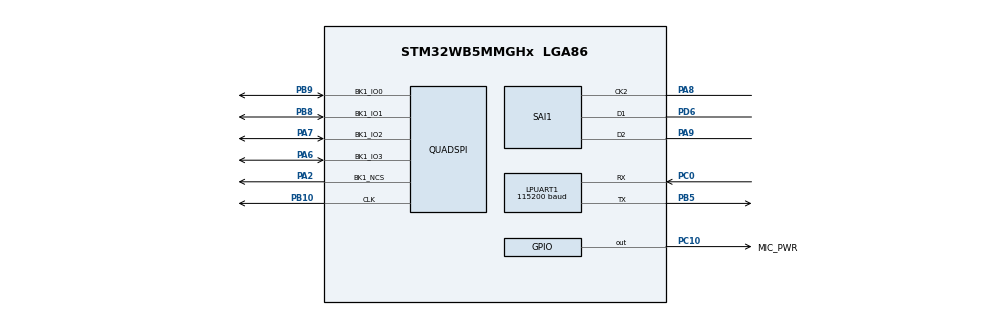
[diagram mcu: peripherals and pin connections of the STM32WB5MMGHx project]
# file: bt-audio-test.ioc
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Dma.Request0=SAI1_A
Dma.SAI1_A.0.Direction=DMA_PERIPH_TO_MEMORY
Dma.SAI1_A.0.EventEnable=DISABLE
Dma.SAI1_A.0.Instance=DMA1_Channel1
Dma.SAI1_A.0.MemDataAlignment=DMA_MDATAALIGN_HALFWORD
Dma.SAI1_A.0.MemInc=DMA_MINC_ENABLE
Dma.SAI1_A.0.Mode=DMA_CIRCULAR
Dma.SAI1_A.0.PeriphDataAlignment=DMA_PDATAALIGN_HALFWORD
Dma.SAI1_A.0.PeriphInc=DMA_PINC_DISABLE
Dma.SAI1_A.0.Polarity=HAL_DMAMUX_REQ_GEN_RISING
Dma.SAI1_A.0.Priority=DMA_PRIORITY_HIGH
Dma.SAI1_A.0.RequestNumber=1
Dma.SAI1_A.0.SignalID=NONE
Dma.SAI1_A.0.SyncEnable=DISABLE
Dma.SAI1_A.0.SyncPolarity=HAL_DMAMUX_SYNC_NO_EVENT
Dma.SAI1_A.0.SyncRequestNumber=1
Dma.SAI1_A.0.SyncSignalID=NONE
FREERTOS.Tasks01=defaultTask,24,1024,StartDefaultTask,Default,NULL,Dynamic,NULL,NULL
FREERTOS.configENABLE_FPU=0
FREERTOS.configMINIMAL_STACK_SIZE=1024
FREERTOS.configTOTAL_HEAP_SIZE=60000
FREERTOS.configUSE_NEWLIB_REENTRANT=1
LPUART1.BaudRate=115200
Mcu.Family=STM32WB
Mcu.Name=STM32WB5MMGHx
Mcu.Package=LGA86
NVIC.DMA1_Channel1_IRQn=true\:5\:0\:false\:false\:true\:true\:false\:true\:true
NVIC.PriorityGroup=NVIC_PRIORITYGROUP_4
NVIC.TIM1_TRG_COM_TIM17_IRQn=true\:15\:0\:false\:false\:true\:false\:false\:true\:true
NVIC.TimeBase=TIM1_TRG_COM_TIM17_IRQn
NVIC.TimeBaseIP=TIM17
PA2.Mode=Single Bank 1
PA2.Signal=QUADSPI_BK1_NCS
PA6.Mode=Single Bank 1
PA6.Signal=QUADSPI_BK1_IO3
PA7.Mode=Single Bank 1
PA7.Signal=QUADSPI_BK1_IO2
PA8.Mode=PDM_Master_Mode_CK2
PA8.Signal=SAI1_CK2
PA9.Mode=3_4_MicroPhones
PA9.Signal=SAI1_D2
PB10.Mode=Single Bank 1
PB10.Signal=QUADSPI_CLK
PB5.Mode=Asynchronous
PB5.Signal=LPUART1_TX
PB8.Mode=Single Bank 1
PB8.Signal=QUADSPI_BK1_IO1
PB9.Mode=Single Bank 1
PB9.Signal=QUADSPI_BK1_IO0
PC0.Mode=Asynchronous
PC0.Signal=LPUART1_RX
PC10.GPIO_Label=MIC_PWR
PC10.GPIO_ModeDefaultOutputPP=GPIO_MODE_OUTPUT_PP
PC10.GPIO_PuPd=GPIO_NOPULL
PC10.PinState=GPIO_PIN_SET
PC10.Signal=GPIO_Output
PD6.Mode=PDM_Master_Mode_CK2
PD6.Signal=SAI1_D1
ProjectManager.HeapSize=0x200
ProjectManager.StackSize=0x400
ProjectManager.TargetToolchain=STM32CubeIDE
RCC.ADCFreq_Value=48000000
RCC.AHB2CLKDivider=RCC_SYSCLK_DIV2
RCC.AHBFreq_Value=48000000
RCC.APB1Freq_Value=48000000
RCC.APB1TimFreq_Value=48000000
RCC.APB2Freq_Value=48000000
RCC.APB2TimFreq_Value=48000000
RCC.APB3Freq_Value=16000000
RCC.CortexFreq_Value=48000000
RCC.HCLKFreq_Value=48000000
RCC.HSE_VALUE=32000000
RCC.HSI48_VALUE=48000000
RCC.HSI_VALUE=16000000
RCC.MSIClockRange=RCC_MSIRANGE_11
RCC.PLLM=RCC_PLLM_DIV3
RCC.PLLP=RCC_PLLP_DIV4
RCC.PLLSAI1N=6
RCC.SAI1CLockSelection=RCC_SAI1CLKSOURCE_HSI
RCC.SYSCLKFreq_VALUE=48000000
RCC.USBFreq_Value=48000000
RCC.VCOOutputFreq_Value=128000000
SAI1.Activation=ENABLE
SAI1.AudioFrequency-PDM_Master_Mode_CK2=SAI_AUDIO_FREQUENCY_16K
SAI1.ClockStrobing-PDM_Master_Mode_CK2=SAI_CLOCKSTROBING_FALLINGEDGE
SAI1.DataSize-PDM_Master_Mode_CK2=SAI_DATASIZE_16
SAI1.ErrorAudioFreq-PDM_Master_Mode_CK2=-2.34 %
SAI1.FSDefinition-PDM_Master_Mode_CK2=SAI_FS_CHANNEL_IDENTIFICATION
SAI1.FrameLength-PDM_Master_Mode_CK2=64
SAI1.Instance-PDM_Master_Mode_CK2=SAI$Index_Block_A
SAI1.MClockEnable-PDM_Master_Mode_CK2=SAI_MASTERCLOCK_DISABLE
SAI1.MonoStereoMode-PDM_Master_Mode_CK2=SAI_STEREOMODE
SAI1.RealAudioFreq-PDM_Master_Mode_CK2=15.625 KHz
SAI1.SlotActive-PDM_Master_Mode_CK2=0x0000FFFF
SAI1.SlotNumber-PDM_Master_Mode_CK2=4
SAI1.Synchro_A=SAI_ASYNCHRONOUS
SAI1.VirtualMode-PDM_Master_Mode_CK2=VM_MASTER
SAI1.VirtualProtocol-PDM_Master_Mode_CK2=VM_PDM_PROTOCOL
SAI1.VirtualSlotActive-PDM_Master_Mode_CK2=SAI_SLOTACTIVE_ALL
VP_FREERTOS_VS_CMSIS_V2.Mode=CMSIS_V2
VP_MEMORYMAP_VS_MEMORYMAP.Mode=CurAppReg
VP_SYS_VS_tim17.Mode=TIM17
board=custom

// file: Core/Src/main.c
/* USER CODE BEGIN Header */
/**
  ******************************************************************************
  * @file           : main.c
  * @brief          : Main program body
  ******************************************************************************
  * @attention
  *
  * Copyright (c) 2023 STMicroelectronics.
  * All rights reserved.
  *
  * This software is licensed under terms that can be found in the LICENSE file
  * in the root directory of this software component.
  * If no LICENSE file comes with this software, it is provided AS-IS.
  *
  ******************************************************************************
  */
/* USER CODE END Header */
#include "main.h"
#include "cmsis_os.h"

/* USER CODE BEGIN Includes */
#define  ARM_MATH_CM4

#include <stdio.h>
#include <stdlib.h>
#include "microphone.h"
/* USER CODE END Includes */

UART_HandleTypeDef hlpuart1;

QSPI_HandleTypeDef hqspi;

SAI_HandleTypeDef hsai_BlockA1;
DMA_HandleTypeDef hdma_sai1_a;

/* Definitions for defaultTask */
osThreadId_t defaultTaskHandle;
const osThreadAttr_t defaultTask_attributes = {
  .name = "defaultTask",
  .priority = (osPriority_t) osPriorityNormal,
  .stack_size = 1024 * 4
};

void SystemClock_Config(void);
void PeriphCommonClock_Config(void);
static void MX_GPIO_Init(void);
static void MX_DMA_Init(void);
static void MX_MEMORYMAP_Init(void);
static void MX_SAI1_Init(void);
static void MX_QUADSPI_Init(void);
static void MX_LPUART1_UART_Init(void);
void StartDefaultTask(void *argument);

/* USER CODE BEGIN PFP */
#ifdef __GNUC__
#define PUTCHAR_PROTOTYPE int __io_putchar(int ch)
#else
#define PUTCHAR_PROTOTYPE int fputc(int ch, FILE *f)
#endif

PUTCHAR_PROTOTYPE
{
  HAL_UART_Transmit(&hlpuart1, (uint8_t *)&ch, 1, HAL_MAX_DELAY);
  return ch;
}
/* USER CODE END PFP */

int main(void)
{

  /* MCU Configuration--------------------------------------------------------*/

  /* Reset of all peripherals, Initializes the Flash interface and the Systick. */
  HAL_Init();

  /* Configure the system clock */
  SystemClock_Config();

/* Configure the peripherals common clocks */
  PeriphCommonClock_Config();

  /* Initialize all configured peripherals */
  MX_GPIO_Init();
  MX_DMA_Init();
  MX_MEMORYMAP_Init();
  MX_SAI1_Init();
  MX_QUADSPI_Init();
  MX_LPUART1_UART_Init();

  /* Init scheduler */
  osKernelInitialize();

  /* Create the thread(s) */
  /* creation of defaultTask */
  defaultTaskHandle = osThreadNew(StartDefaultTask, NULL, &defaultTask_attributes);

  /* Start scheduler */
  osKernelStart();

  /* We should never get here as control is now taken by the scheduler */
  /* Infinite loop */
  while (1)
  {

  }
}

void SystemClock_Config(void)
{
  RCC_OscInitTypeDef RCC_OscInitStruct = {0};
  RCC_ClkInitTypeDef RCC_ClkInitStruct = {0};

  /** Configure the main internal regulator output voltage
  */
  __HAL_PWR_VOLTAGESCALING_CONFIG(PWR_REGULATOR_VOLTAGE_SCALE1);

  /** Initializes the RCC Oscillators according to the specified parameters
  * in the RCC_OscInitTypeDef structure.
  */
  RCC_OscInitStruct.OscillatorType = RCC_OSCILLATORTYPE_HSI|RCC_OSCILLATORTYPE_MSI;
  RCC_OscInitStruct.HSIState = RCC_HSI_ON;
  RCC_OscInitStruct.MSIState = RCC_MSI_ON;
  RCC_OscInitStruct.HSICalibrationValue = RCC_HSICALIBRATION_DEFAULT;
  RCC_OscInitStruct.MSICalibrationValue = RCC_MSICALIBRATION_DEFAULT;
  RCC_OscInitStruct.MSIClockRange = RCC_MSIRANGE_11;
  RCC_OscInitStruct.PLL.PLLState = RCC_PLL_NONE;
  if (HAL_RCC_OscConfig(&RCC_OscInitStruct) != HAL_OK)
  {
    Error_Handler();
  }

  /** Configure the SYSCLKSource, HCLK, PCLK1 and PCLK2 clocks dividers
  */
  RCC_ClkInitStruct.ClockType = RCC_CLOCKTYPE_HCLK4|RCC_CLOCKTYPE_HCLK2
                              |RCC_CLOCKTYPE_HCLK|RCC_CLOCKTYPE_SYSCLK
                              |RCC_CLOCKTYPE_PCLK1|RCC_CLOCKTYPE_PCLK2;
  RCC_ClkInitStruct.SYSCLKSource = RCC_SYSCLKSOURCE_MSI;
  RCC_ClkInitStruct.AHBCLKDivider = RCC_SYSCLK_DIV1;
  RCC_ClkInitStruct.APB1CLKDivider = RCC_HCLK_DIV1;
  RCC_ClkInitStruct.APB2CLKDivider = RCC_HCLK_DIV1;
  RCC_ClkInitStruct.AHBCLK2Divider = RCC_SYSCLK_DIV2;
  RCC_ClkInitStruct.AHBCLK4Divider = RCC_SYSCLK_DIV1;

  if (HAL_RCC_ClockConfig(&RCC_ClkInitStruct, FLASH_LATENCY_2) != HAL_OK)
  {
    Error_Handler();
  }
}

void PeriphCommonClock_Config(void)
{
  RCC_PeriphCLKInitTypeDef PeriphClkInitStruct = {0};

  /** Initializes the peripherals clock
  */
  PeriphClkInitStruct.PeriphClockSelection = RCC_PERIPHCLK_SMPS;
  PeriphClkInitStruct.SmpsClockSelection = RCC_SMPSCLKSOURCE_HSI;
  PeriphClkInitStruct.SmpsDivSelection = RCC_SMPSCLKDIV_RANGE1;

  if (HAL_RCCEx_PeriphCLKConfig(&PeriphClkInitStruct) != HAL_OK)
  {
    Error_Handler();
  }
}

static void MX_LPUART1_UART_Init(void)
{

  hlpuart1.Instance = LPUART1;
  hlpuart1.Init.BaudRate = 115200;
  hlpuart1.Init.WordLength = UART_WORDLENGTH_8B;
  hlpuart1.Init.StopBits = UART_STOPBITS_1;
  hlpuart1.Init.Parity = UART_PARITY_NONE;
  hlpuart1.Init.Mode = UART_MODE_TX_RX;
  hlpuart1.Init.HwFlowCtl = UART_HWCONTROL_NONE;
  hlpuart1.Init.OneBitSampling = UART_ONE_BIT_SAMPLE_DISABLE;
  hlpuart1.Init.ClockPrescaler = UART_PRESCALER_DIV1;
  hlpuart1.AdvancedInit.AdvFeatureInit = UART_ADVFEATURE_NO_INIT;
  hlpuart1.FifoMode = UART_FIFOMODE_DISABLE;
  if (HAL_UART_Init(&hlpuart1) != HAL_OK)
  {
    Error_Handler();
  }
  if (HAL_UARTEx_SetTxFifoThreshold(&hlpuart1, UART_TXFIFO_THRESHOLD_1_8) != HAL_OK)
  {
    Error_Handler();
  }
  if (HAL_UARTEx_SetRxFifoThreshold(&hlpuart1, UART_RXFIFO_THRESHOLD_1_8) != HAL_OK)
  {
    Error_Handler();
  }
  if (HAL_UARTEx_DisableFifoMode(&hlpuart1) != HAL_OK)
  {
    Error_Handler();
  }

}

static void MX_MEMORYMAP_Init(void)
{

}

static void MX_QUADSPI_Init(void)
{

  /* QUADSPI parameter configuration*/
  hqspi.Instance = QUADSPI;
  hqspi.Init.ClockPrescaler = 255;
  hqspi.Init.FifoThreshold = 1;
  hqspi.Init.SampleShifting = QSPI_SAMPLE_SHIFTING_NONE;
  hqspi.Init.FlashSize = 1;
  hqspi.Init.ChipSelectHighTime = QSPI_CS_HIGH_TIME_1_CYCLE;
  hqspi.Init.ClockMode = QSPI_CLOCK_MODE_0;
  if (HAL_QSPI_Init(&hqspi) != HAL_OK)
  {
    Error_Handler();
  }

}

static void MX_SAI1_Init(void)
{

  hsai_BlockA1.Instance = SAI1_Block_A;
  hsai_BlockA1.Init.Protocol = SAI_FREE_PROTOCOL;
  hsai_BlockA1.Init.AudioMode = SAI_MODEMASTER_RX;
  hsai_BlockA1.Init.DataSize = SAI_DATASIZE_16;
  hsai_BlockA1.Init.FirstBit = SAI_FIRSTBIT_MSB;
  hsai_BlockA1.Init.ClockStrobing = SAI_CLOCKSTROBING_FALLINGEDGE;
  hsai_BlockA1.Init.Synchro = SAI_ASYNCHRONOUS;
  hsai_BlockA1.Init.OutputDrive = SAI_OUTPUTDRIVE_DISABLE;
  hsai_BlockA1.Init.NoDivider = SAI_MASTERDIVIDER_ENABLE;
  hsai_BlockA1.Init.MckOverSampling = SAI_MCK_OVERSAMPLING_DISABLE;
  hsai_BlockA1.Init.FIFOThreshold = SAI_FIFOTHRESHOLD_EMPTY;
  hsai_BlockA1.Init.AudioFrequency = SAI_AUDIO_FREQUENCY_16K;
  hsai_BlockA1.Init.MonoStereoMode = SAI_STEREOMODE;
  hsai_BlockA1.Init.CompandingMode = SAI_NOCOMPANDING;
  hsai_BlockA1.Init.PdmInit.Activation = ENABLE;
  hsai_BlockA1.Init.PdmInit.MicPairsNbr = 2;
  hsai_BlockA1.Init.PdmInit.ClockEnable = SAI_PDM_CLOCK2_ENABLE;
  hsai_BlockA1.FrameInit.FrameLength = 64;
  hsai_BlockA1.FrameInit.ActiveFrameLength = 1;
  hsai_BlockA1.FrameInit.FSDefinition = SAI_FS_CHANNEL_IDENTIFICATION;
  hsai_BlockA1.FrameInit.FSPolarity = SAI_FS_ACTIVE_LOW;
  hsai_BlockA1.FrameInit.FSOffset = SAI_FS_FIRSTBIT;
  hsai_BlockA1.SlotInit.FirstBitOffset = 0;
  hsai_BlockA1.SlotInit.SlotSize = SAI_SLOTSIZE_DATASIZE;
  hsai_BlockA1.SlotInit.SlotNumber = 4;
  hsai_BlockA1.SlotInit.SlotActive = 0x0000FFFF;
  if (HAL_SAI_Init(&hsai_BlockA1) != HAL_OK)
  {
    Error_Handler();
  }

}

static void MX_DMA_Init(void)
{

  /* DMA controller clock enable */
  __HAL_RCC_DMAMUX1_CLK_ENABLE();
  __HAL_RCC_DMA1_CLK_ENABLE();

  /* DMA interrupt init */
  /* DMA1_Channel1_IRQn interrupt configuration */
  HAL_NVIC_SetPriority(DMA1_Channel1_IRQn, 5, 0);
  HAL_NVIC_EnableIRQ(DMA1_Channel1_IRQn);

}

static void MX_GPIO_Init(void)
{
  GPIO_InitTypeDef GPIO_InitStruct = {0};

  /* GPIO Ports Clock Enable */
  __HAL_RCC_GPIOA_CLK_ENABLE();
  __HAL_RCC_GPIOB_CLK_ENABLE();
  __HAL_RCC_GPIOC_CLK_ENABLE();
  __HAL_RCC_GPIOD_CLK_ENABLE();

  /*Configure GPIO pin Output Level */
  HAL_GPIO_WritePin(MIC_PWR_GPIO_Port, MIC_PWR_Pin, GPIO_PIN_SET);

  /*Configure GPIO pin : MIC_PWR_Pin */
  GPIO_InitStruct.Pin = MIC_PWR_Pin;
  GPIO_InitStruct.Mode = GPIO_MODE_OUTPUT_PP;
  GPIO_InitStruct.Pull = GPIO_NOPULL;
  GPIO_InitStruct.Speed = GPIO_SPEED_FREQ_LOW;
  HAL_GPIO_Init(MIC_PWR_GPIO_Port, &GPIO_InitStruct);

}

void StartDefaultTask(void *argument)
{
  /* USER CODE BEGIN 5 */
  (void) argument;
//  static const size_t k_max_file_size_bytes = 10;
  static const char * k_file_name = "test_file_1.wav";
  size_t file_size = 0;
  microphone_open(k_file_name, &hsai_BlockA1);
  /* Infinite loop */
  while (1) {
    file_size = microphone_get_file_size();
    printf("File size %d bytes\n", file_size);
    osDelay(100);
  }
  printf("Test finished.\n");
  /* USER CODE END 5 */
}

void HAL_TIM_PeriodElapsedCallback(TIM_HandleTypeDef *htim)
{
  if (htim->Instance == TIM17) {
    HAL_IncTick();
  }
}

void Error_Handler(void)
{
  __disable_irq();
  while (1)
  {
  }
}
